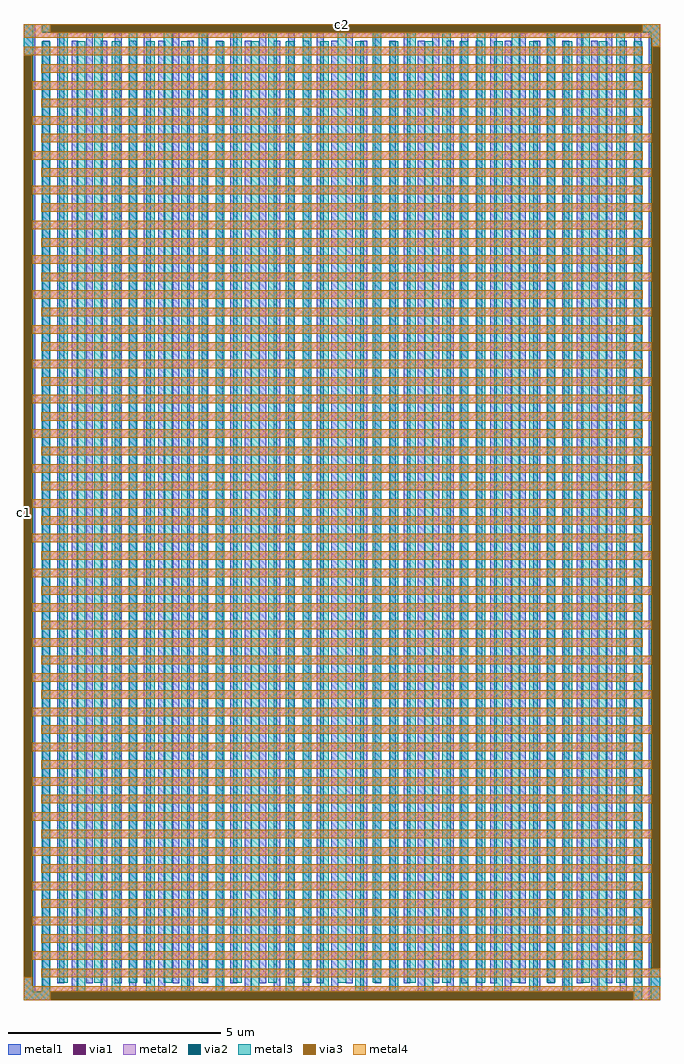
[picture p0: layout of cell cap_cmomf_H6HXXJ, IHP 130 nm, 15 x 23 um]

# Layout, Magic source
magic
tech ihp-sg13cmos5l
magscale 1 2
<< metal1 >>
rect 0 4453 54 4600
rect 90 4599 3000 4600
rect 90 4559 136 4599
rect 2904 4559 3000 4599
rect 90 4558 3000 4559
rect 0 107 1 4453
rect 41 107 54 4453
rect 0 42 54 107
rect 90 42 122 4522
rect 158 78 190 4558
rect 226 42 258 4522
rect 294 78 326 4558
rect 362 42 394 4522
rect 430 78 462 4558
rect 498 42 530 4522
rect 566 78 598 4558
rect 634 42 666 4522
rect 702 78 734 4558
rect 770 42 802 4522
rect 838 78 870 4558
rect 906 42 938 4522
rect 974 78 1006 4558
rect 1042 42 1074 4522
rect 1110 78 1142 4558
rect 1178 42 1210 4522
rect 1246 78 1278 4558
rect 1314 42 1346 4522
rect 1382 78 1414 4558
rect 1450 42 1482 4522
rect 1518 78 1550 4558
rect 1586 42 1618 4522
rect 1654 78 1686 4558
rect 1722 42 1754 4522
rect 1790 78 1822 4558
rect 1858 42 1890 4522
rect 1926 78 1958 4558
rect 1994 42 2026 4522
rect 2062 78 2094 4558
rect 2130 42 2162 4522
rect 2198 78 2230 4558
rect 2266 42 2298 4522
rect 2334 78 2366 4558
rect 2402 42 2434 4522
rect 2470 78 2502 4558
rect 2538 42 2570 4522
rect 2606 78 2638 4558
rect 2674 42 2706 4522
rect 2742 78 2774 4558
rect 2810 42 2842 4522
rect 2878 78 2910 4558
rect 2946 4493 3000 4558
rect 2946 147 2959 4493
rect 2999 147 3000 4493
rect 0 41 2910 42
rect 0 1 136 41
rect 2864 1 2910 41
rect 0 0 2910 1
rect 2946 0 3000 147
<< via1 >>
rect 136 4559 2904 4599
rect 1 107 41 4453
rect 2959 147 2999 4493
rect 136 1 2864 41
<< metal2 >>
rect 0 4560 126 4600
rect 2914 4560 3000 4600
rect 0 4559 136 4560
rect 2904 4559 3000 4560
rect 0 4535 3000 4559
rect 2959 4493 3000 4535
rect 0 4453 2916 4493
rect 84 4371 2959 4411
rect 41 4289 2916 4329
rect 84 4207 2959 4247
rect 41 4125 2916 4165
rect 84 4043 2959 4083
rect 41 3961 2916 4001
rect 84 3879 2959 3919
rect 41 3797 2916 3837
rect 84 3715 2959 3755
rect 41 3633 2916 3673
rect 84 3551 2959 3591
rect 41 3469 2916 3509
rect 84 3387 2959 3427
rect 41 3305 2916 3345
rect 84 3223 2959 3263
rect 41 3141 2916 3181
rect 84 3059 2959 3099
rect 41 2977 2916 3017
rect 84 2895 2959 2935
rect 41 2813 2916 2853
rect 84 2731 2959 2771
rect 41 2649 2916 2689
rect 84 2567 2959 2607
rect 41 2485 2916 2525
rect 84 2403 2959 2443
rect 41 2321 2916 2361
rect 84 2239 2959 2279
rect 41 2157 2916 2197
rect 84 2075 2959 2115
rect 41 1993 2916 2033
rect 84 1911 2959 1951
rect 41 1829 2916 1869
rect 84 1747 2959 1787
rect 41 1665 2916 1705
rect 84 1583 2959 1623
rect 41 1501 2916 1541
rect 84 1419 2959 1459
rect 41 1337 2916 1377
rect 84 1255 2959 1295
rect 41 1173 2916 1213
rect 84 1091 2959 1131
rect 41 1009 2916 1049
rect 84 927 2959 967
rect 41 845 2916 885
rect 84 763 2959 803
rect 41 681 2916 721
rect 84 599 2959 639
rect 41 517 2916 557
rect 84 435 2959 475
rect 41 353 2916 393
rect 84 271 2959 311
rect 41 189 2916 229
rect 84 107 3000 147
rect 0 65 41 107
rect 0 41 3000 65
rect 0 40 136 41
rect 2864 40 3000 41
rect 0 0 126 40
rect 2874 0 3000 40
<< via2 >>
rect 126 4599 2914 4600
rect 126 4560 136 4599
rect 136 4560 2904 4599
rect 2904 4560 2914 4599
rect 0 107 1 4453
rect 1 107 40 4453
rect 2960 147 2999 4493
rect 2999 147 3000 4493
rect 126 1 136 40
rect 136 1 2864 40
rect 2864 1 2874 40
rect 126 0 2874 1
<< metal3 >>
rect 0 4453 44 4600
rect 86 4560 126 4600
rect 2914 4560 3000 4600
rect 40 107 44 4453
rect 0 40 44 107
rect 86 40 126 4518
rect 168 82 208 4560
rect 250 40 290 4518
rect 332 82 372 4560
rect 414 40 454 4518
rect 496 82 536 4560
rect 578 40 618 4518
rect 660 82 700 4560
rect 742 40 782 4518
rect 824 82 864 4560
rect 906 40 946 4518
rect 988 82 1028 4560
rect 1070 40 1110 4518
rect 1152 82 1192 4560
rect 1234 40 1274 4518
rect 1316 82 1356 4560
rect 1398 40 1438 4518
rect 1480 82 1520 4560
rect 1562 40 1602 4518
rect 1644 82 1684 4560
rect 1726 40 1766 4518
rect 1808 82 1848 4560
rect 1890 40 1930 4518
rect 1972 82 2012 4560
rect 2054 40 2094 4518
rect 2136 82 2176 4560
rect 2218 40 2258 4518
rect 2300 82 2340 4560
rect 2382 40 2422 4518
rect 2464 82 2504 4560
rect 2546 40 2586 4518
rect 2628 82 2668 4560
rect 2710 40 2750 4518
rect 2792 82 2832 4560
rect 0 0 126 40
rect 2874 0 2914 4518
rect 2956 4493 3000 4560
rect 2956 147 2960 4493
rect 2956 0 3000 147
<< via3 >>
rect 126 4560 2914 4600
rect 0 107 40 4453
rect 126 0 2874 40
rect 2960 147 3000 4493
<< metal4 >>
rect 0 4560 126 4600
rect 2914 4560 3000 4600
rect 0 4535 3000 4560
rect 2960 4493 3000 4535
rect 0 4453 2918 4493
rect 82 4371 2960 4411
rect 40 4289 2918 4329
rect 82 4207 2960 4247
rect 40 4125 2918 4165
rect 82 4043 2960 4083
rect 40 3961 2918 4001
rect 82 3879 2960 3919
rect 40 3797 2918 3837
rect 82 3715 2960 3755
rect 40 3633 2918 3673
rect 82 3551 2960 3591
rect 40 3469 2918 3509
rect 82 3387 2960 3427
rect 40 3305 2918 3345
rect 82 3223 2960 3263
rect 40 3141 2918 3181
rect 82 3059 2960 3099
rect 40 2977 2918 3017
rect 82 2895 2960 2935
rect 40 2813 2918 2853
rect 82 2731 2960 2771
rect 40 2649 2918 2689
rect 82 2567 2960 2607
rect 40 2485 2918 2525
rect 82 2403 2960 2443
rect 40 2321 2918 2361
rect 82 2239 2960 2279
rect 40 2157 2918 2197
rect 82 2075 2960 2115
rect 40 1993 2918 2033
rect 82 1911 2960 1951
rect 40 1829 2918 1869
rect 82 1747 2960 1787
rect 40 1665 2918 1705
rect 82 1583 2960 1623
rect 40 1501 2918 1541
rect 82 1419 2960 1459
rect 40 1337 2918 1377
rect 82 1255 2960 1295
rect 40 1173 2918 1213
rect 82 1091 2960 1131
rect 40 1009 2918 1049
rect 82 927 2960 967
rect 40 845 2918 885
rect 82 763 2960 803
rect 40 681 2918 721
rect 82 599 2960 639
rect 40 517 2918 557
rect 82 435 2960 475
rect 40 353 2918 393
rect 82 271 2960 311
rect 40 189 2918 229
rect 82 107 3000 147
rect 0 65 40 107
rect 0 40 3000 65
rect 0 0 126 40
rect 2874 0 3000 40
<< labels >>
rlabel via3 2 2300 2 2300 0 c1
port 1 nsew
rlabel via3 1500 4598 1500 4598 0 c2
port 2 nsew
<< properties >>
string device csubckt cap_cmomf 0 0 1 1 w=15.000u l=23.000u mmin=1 mmax=4 subblock=0 mm_ok=1 c1 0 0 c2 0 0
string FIXED_BBOX 0 0 3000 4600
string gencell cap_cmomf
string library sg13cmos5l
string parameters w 15.00 l 23.00 value 444.015 class capacitor mmin metal1 mmax metal4 square 1 subblock 0 lmin 2.00 wmin 2.00 lmax 100.0 wmax 100.0
<< end >>
